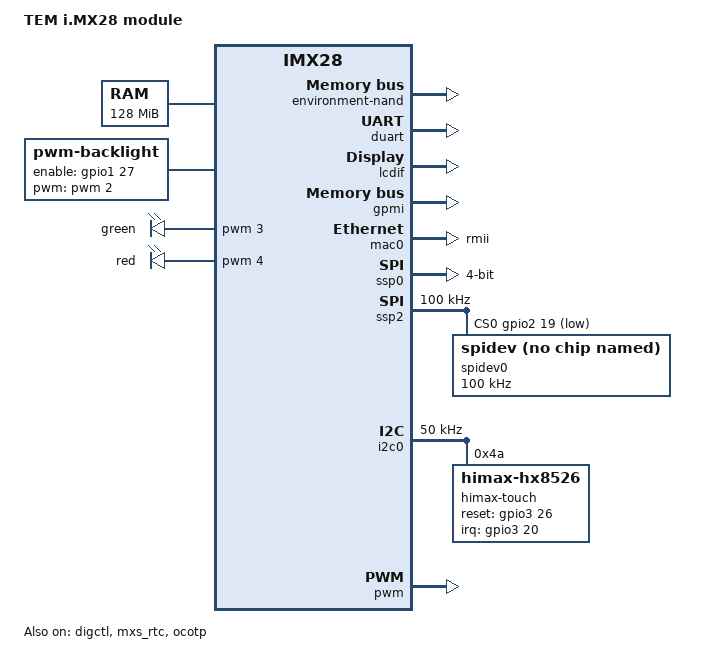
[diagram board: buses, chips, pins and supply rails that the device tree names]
/*
 * Copyright 2014 Michael Grzeschik <mgr@pengutronix.de>
 *
 * The code contained herein is licensed under the GNU General Public
 * License. You may obtain a copy of the GNU General Public License
 * Version 2 at the following locations:
 *
 * http://www.opensource.org/licenses/gpl-license.html
 * http://www.gnu.org/copyleft/gpl.html
 */

/dts-v1/;
#include <arm/imx28.dtsi>
#include <dt-bindings/gpio/gpio.h>

/ {
	model = "TEM i.MX28 module";
	compatible = "tem,imx28", "fsl,imx28";

	aliases {
		serial0 = &duart;
	};

	chosen {
		stdout-path = &duart;

		environment-nand {
			compatible = "barebox,environment";
			device-path = &gpmi, "partname:barebox-environment";
		};
	};

	aliases {
		mmc0 = &ssp0;
	};

	memory {
		reg = <0x40000000 0x08000000>;
	};

	backlight {
		compatible = "pwm-backlight";
		/* 20kHz PWM */
		pwms = <&pwm 2 50000>;
		brightness-levels = <0 8 16 32 64 128 255>;
		default-brightness-level = <6>;
		enable-gpios = <&gpio1 27 GPIO_ACTIVE_HIGH>;
	};

	pwmleds {
		compatible = "pwm-leds";
		status = "okay";

		green {
			label = "green";
			/* 200Hz PWM */
			pwms = <&pwm 3 5000000>;
			linux,default-trigger = "default-on";
			max-brightness = <255>;
		};

		red {
			label = "red";
			/* 200Hz PWM */
			pwms = <&pwm 4 5000000>;
			max-brightness = <255>;
		};
	};
};

&pinctrl {
	pinctrl-names = "default";
	pinctrl-0 = <&hog_pins>;

	hog_pins: hog@0 {
		reg = <0>;
		fsl,pinmux-ids = <
			/* RS485 Setup */
			/* MX28_PAD_SAIF0_LRCLK__GPIO_3_21 */
			MX28_PAD_SAIF0_LRCLK__AUART4_RTS
			MX28_PAD_SAIF0_BITCLK__GPIO_3_22
			MX28_PAD_SAIF0_BITCLK__AUART4_RX
			/* FRMS und FRMM */
			MX28_PAD_AUART1_RX__GPIO_3_4
			MX28_PAD_AUART1_TX__GPIO_3_5
			/* Display Enable */
			MX28_PAD_LCD_CS__GPIO_1_27
			MX28_PAD_PWM0__PWM_0
			MX28_PAD_PWM1__PWM_1
			MX28_PAD_PWM2__PWM_2
			MX28_PAD_PWM3__PWM_3
			MX28_PAD_PWM4__PWM_4
			MX28_PAD_AUART0_CTS__DUART_RX
			MX28_PAD_AUART0_RTS__DUART_TX
		>;
		fsl,drive-strength = <MXS_DRIVE_4mA>;
		fsl,voltage = <MXS_VOLTAGE_HIGH>;
		fsl,pull-up = <MXS_PULL_DISABLE>;
	};

	gpmi_pins_b: gpmi-nand@0 {
		reg = <0>;
		fsl,pinmux-ids = <
			MX28_PAD_GPMI_D00__GPMI_D0
			MX28_PAD_GPMI_D01__GPMI_D1
			MX28_PAD_GPMI_D02__GPMI_D2
			MX28_PAD_GPMI_D03__GPMI_D3
			MX28_PAD_GPMI_D04__GPMI_D4
			MX28_PAD_GPMI_D05__GPMI_D5
			MX28_PAD_GPMI_D06__GPMI_D6
			MX28_PAD_GPMI_D07__GPMI_D7
			MX28_PAD_GPMI_CE0N__GPMI_CE0N
			MX28_PAD_GPMI_RDY0__GPMI_READY0
			MX28_PAD_GPMI_RDN__GPMI_RDN
			MX28_PAD_GPMI_WRN__GPMI_WRN
			MX28_PAD_GPMI_ALE__GPMI_ALE
			MX28_PAD_GPMI_CLE__GPMI_CLE
			MX28_PAD_GPMI_RESETN__GPMI_RESETN
		>;
		fsl,drive-strength = <MXS_DRIVE_4mA>;
		fsl,voltage = <MXS_VOLTAGE_LOW>;
		fsl,pull-up = <MXS_PULL_DISABLE>;
	};

	lcdif_pins_imxmodul: lcdif-modul@0 {
		reg = <0>;
		fsl,pinmux-ids = <
			MX28_PAD_LCD_RD_E__LCD_VSYNC
			MX28_PAD_LCD_WR_RWN__LCD_HSYNC
			MX28_PAD_LCD_RS__LCD_DOTCLK
		>;
		fsl,drive-strength = <MXS_DRIVE_4mA>;
		fsl,voltage = <MXS_VOLTAGE_HIGH>;
		fsl,pull-up = <MXS_PULL_DISABLE>;
	};
};

&digctl {
	status = "okay";
};

/* 1st TX-Std UART - (D)UART */
&duart {
	status = "okay";
};

&lcdif {
	pinctrl-names = "default";
	pinctrl-0 = <&lcdif_24bit_pins_a &lcdif_pins_imxmodul>;
	display = <&tem_display>;
	status = "okay";

	tem_display: display@0 {
		bits-per-pixel = <32>;
		bus-width = <24>;

		display-timings {
			native-mode = <&timing0>;
			timing0: timing0 {
				clock-frequency = <10000000>;
				hactive = <480>;
				vactive = <272>;
				hback-porch = <3>;
				hfront-porch = <2>;
				vback-porch = <3>;
				vfront-porch = <33>;
				hsync-len = <40>;
				vsync-len = <10>;
				hsync-active = <0>;
				vsync-active = <0>;
				de-active = <1>;
				pixelclk-active = <0>;
			};
		};
	};
};

&gpmi {
	pinctrl-0 = <&gpmi_pins_b &gpmi_status_cfg>;
	pinctrl-names = "default";
	nand-on-flash-bbt;
	status = "okay";

	partition@0 {
		label = "barebox";
		reg = <0x00000000 0x00400000>;
	};
	partition@1 {
		label = "barebox-environment";
		reg = <0x00400000 0x00100000>;
	};
	partition@2 {
		label = "root";
		reg = <0x005a0000 0x06400000>;
	};
	partition@3 {
		label = "data";
		reg = <0x069a0000 0x01400000>;
	};
	partition@4 {
		label = "splash";
		reg = <0x7da0000 0x00260000>;
	};
};

&mac0 {
	phy-mode = "rmii";
	pinctrl-names = "default";
	pinctrl-0 = <&mac0_pins_a>;
	status = "okay";
};

&mxs_rtc {
	status = "okay";
};

&ocotp {
	status = "okay";
};

&ssp0 {
	compatible = "fsl,imx28-mmc";
	pinctrl-names = "default";
	pinctrl-0 = <&mmc0_4bit_pins_a>;
	bus-width = <4>;
	status = "okay";
};

&ssp2 {
	compatible = "fsl,imx28-spi";
	pinctrl-names = "default";
	pinctrl-0 = <&spi2_pins_a>;
	clock-frequency = <100000>;
	status = "okay";
	cs-gpios = <&gpio2 19 1 &gpio2 20 0>;
	num-chipselects = <2>;

	spidev0: spi@0 {
		compatible = "spidev";
		reg = <0>;
		spi-max-frequency = <100000>;
	};
};

&i2c0 {
	pinctrl-names = "default";
	pinctrl-0 = <&i2c0_pins_a>;
	clock-frequency = <50000>;
	status = "okay";

	himax-touch@4a{
		compatible = "himax-hx8526";
		reg = <0x4a>;
		interrupt-parent = <&gpio3>;
		interrupts = <20 2>;
		reset-gpio = <&gpio3 26 0>;
		display-width = <480>;
		display-height = <272>;
	};
};

&pwm {
	pinctrl-names = "default";
	status = "okay";
};
